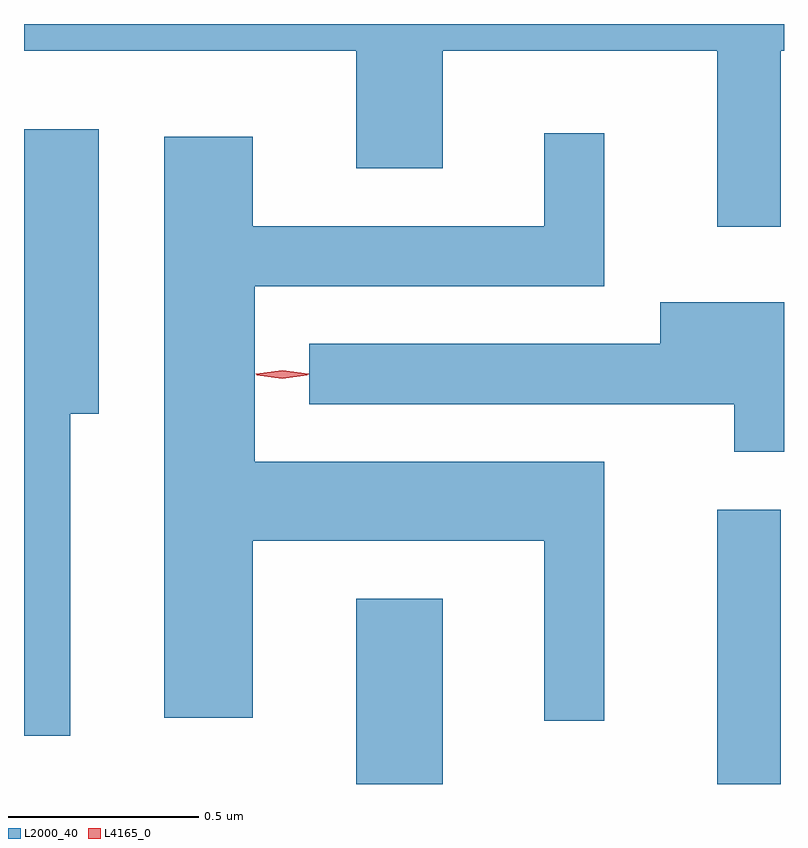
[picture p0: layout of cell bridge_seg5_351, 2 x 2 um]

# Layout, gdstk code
import gdstk
lib = gdstk.Library(unit=1e-6, precision=1e-09)
def R(c, l, rs):  # rectangles x0, y0, x1, y1
    for r in rs: c.add(gdstk.rectangle(r[:2], r[2:], *l))
def P(c, l, *ps):  # polygons
    for p in ps: c.add(gdstk.Polygon(p, *l))
L2000_40 = (2000, 40)
L4165_0 = (4165, 0)

bridge_seg5_351 = lib.new_cell('bridge_seg5_351')
R(bridge_seg5_351, L2000_40, [(669.421,1448.206,669.649,1448.694), (670.371,1448.206,670.539,1448.928)])
P(bridge_seg5_351, L2000_40, [(668.547,1450.136),(669.421,1450.136),(669.421,1449.826),(669.649,1449.826),(669.649,1450.136),(670.371,1450.136),(670.371,1449.673),(670.539,1449.673),(670.539,1450.136),(670.547,1450.136),(670.547,1450.206),(668.547,1450.206)],
  [(668.669,1449.181),(668.744,1449.181),(668.744,1449.929),(668.547,1449.929),(668.547,1448.333),(668.669,1448.333)],
  [(670.074,1449.054),(669.154,1449.054),(669.154,1449.516),(670.074,1449.516),(670.074,1449.918),(669.916,1449.918),(669.916,1449.674),(669.149,1449.674),(669.149,1449.909),(668.916,1449.909),(668.916,1448.381),(669.149,1448.381),(669.149,1448.846),(669.916,1448.846),(669.916,1448.373),(670.074,1448.373)],
  [(670.547,1449.474),(670.221,1449.474),(670.221,1449.364),(669.298,1449.364),(669.298,1449.206),(670.416,1449.206),(670.416,1449.081),(670.547,1449.081)])
P(bridge_seg5_351, L4165_0, [(669.227,1449.275),(669.158,1449.284),(669.157,1449.285),(669.158,1449.285),(669.227,1449.295),(669.296,1449.285),(669.296,1449.285),(669.296,1449.284)],
  [(669.226,1449.272),(669.16,1449.282),(669.16,1449.282),(669.16,1449.283),(669.226,1449.292),(669.292,1449.283),(669.293,1449.282),(669.292,1449.282)])

lib.write_gds('bridge_seg5_351.gds')
